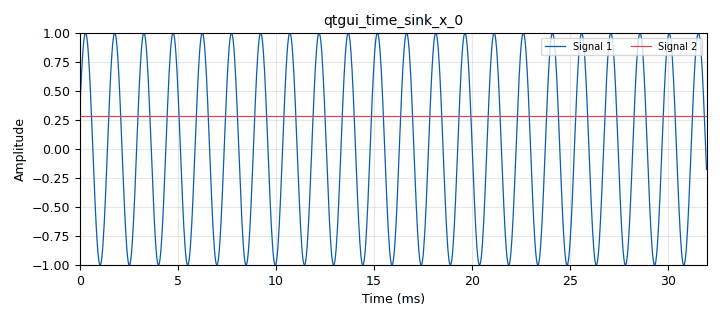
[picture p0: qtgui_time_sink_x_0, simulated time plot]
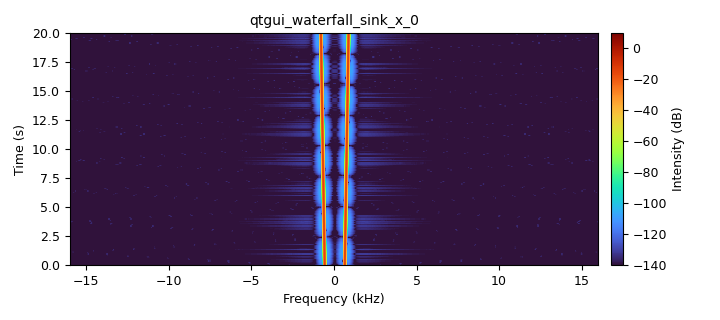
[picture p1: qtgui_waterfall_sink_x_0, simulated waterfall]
options:
  parameters:
    generate_options: qt_gui
    id: chirp_with_vco
    output_language: python
    title: Chirp with VCO
  states: {}

blocks:
- name: phase_mult
  id: variable_qtgui_range
  parameters:
    start: '0'
    step: '0.01'
    stop: '1'
    value: '0.5'
  states: {}
- name: samp_rate
  id: variable
  parameters:
    value: '32000'
  states: {}
- name: vco_sens
  id: variable_qtgui_range
  parameters:
    start: '0'
    step: '100'
    stop: '30000'
    value: '15000'
  states: {}
- name: analog_sig_source_x_0
  id: analog_sig_source_x
  parameters:
    amp: phase_mult
    freq: '.01'
    offset: '0'
    phase: '0'
    samp_rate: samp_rate
    type: float
    waveform: analog.GR_SAW_WAVE
  states: {}
- name: blocks_vco_f_0
  id: blocks_vco_f
  parameters:
    amplitude: '1'
    samp_rate: samp_rate
    sensitivity: vco_sens
  states: {}
- name: import_0
  id: import
  parameters:
    imports: import math
  states: {}
- name: qtgui_time_sink_x_0
  id: qtgui_time_sink_x
  parameters:
    nconnections: '2'
    size: '1024'
    srate: samp_rate
    type: float
  states: {}
- name: qtgui_waterfall_sink_x_0
  id: qtgui_waterfall_sink_x
  parameters:
    bw: samp_rate
    fc: '0'
    fftsize: '1024'
    type: float
  states: {}

connections:
- [analog_sig_source_x_0, '0', blocks_vco_f_0, '0']
- [analog_sig_source_x_0, '0', qtgui_time_sink_x_0, '1']
- [blocks_vco_f_0, '0', qtgui_time_sink_x_0, '0']
- [blocks_vco_f_0, '0', qtgui_waterfall_sink_x_0, '0']

metadata:
  file_format: 1
  grc_version: 3.10.9.2
